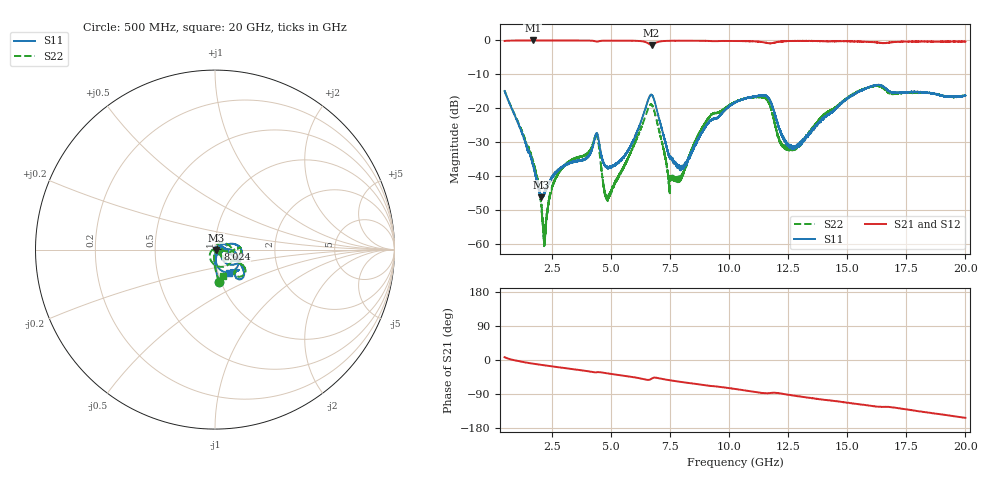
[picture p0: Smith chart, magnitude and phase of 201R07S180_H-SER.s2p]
!{201R07S180}
!Johanson Technology Inc.
!www.johansontechnology.com
!Test Board Conditions:
!Substrate Type  RO4350B
!Substrate Thickness  10 mil
!Substrate Dk  3.66
!TL Type: GCPW
!TL Trace Width  21 mil
!TL Gap  20 mil
!Electrode orientation  Horizontal
!DUT TOPOLOGY	SERIES
!Mounting Pad LxW  16x21 mil
!Agilent Technologies,N5230A,MY45001966,A.07.50.67
!Agilent N5230A: A.07.50.67
! Created Mon Mar  9 16:05:34 2020
# mhz S ma R 50
! 2 Port Network Data from SP1.SP block
! freq  magS11  angS11  magS21  angS21  magS12  angS12  magS22  angS22
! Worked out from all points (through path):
!   19501 points, 500 MHz to 20 GHz, reference 50 ohm
!   highest |S21| = -0.01 dB at 1.692 GHz (marker M1); lowest = -1.3 dB at 6.72 GHz (marker M2)
!   group delay of S21, straight-line fit = 21.4 ps
!   lowest |S11| = -46.4 dB at 2.051 GHz (marker M3), VSWR 1.01, Z = 50.4 - j0.177 ohm
!   |S11| at or under -10 dB: start of sweep to end of sweep
!   |S22| runs from -60.8 to -13.4 dB; largest |S21 - S12| = 0.014
!   S11 on the Smith chart (normalised r, x): 500 MHz: 0.98, -0.36; 8.024 GHz: 1.03, +0.00; 20 GHz: 1.13, -0.30
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500  0.1795 -82.6  0.9821 7.4  0.9833 7.4  0.1808 -82.7
1692  0.01464 -80.8  0.9988 -9.5  0.9968 -9.6  0.01703 -108.4
2051  0.004798 -21.5  0.9979 -12.8  0.9983 -12.9  0.003729 -134.3
2200  0.005939 19.5  0.9975 -14.2  0.9979 -14.1  0.001357 134.3
2693  0.0114 60.4  0.997 -18.4  0.9975 -18.4  0.009735 54.8
3750  0.01705 65.9  0.9961 -27.2  0.9957 -27.2  0.01945 39.7
4390  0.04236 -13.4  0.9597 -32.4  0.9601 -32.4  0.04019 -11.4
4722  0.01464 -71.8  0.9919 -34.1  0.9921 -34.0  0.006006 -118.6
4886  0.01348 -63.5  0.9943 -35.6  0.9937 -35.6  0.005022 -172.5
5724  0.02379 -16.5  0.9914 -43.0  0.992 -43.0  0.01844 91.6
6720  0.1574 -45.3  0.8571 -49.3  0.8584 -49.3  0.1121 -47.0
7000  0.07873 -84.5  0.9538 -47.8  0.9537 -47.8  0.05264 -122.3
7476  0.01949 -41.9  0.9867 -53.5  0.9853 -53.4  0.006145 150.0
8024  0.01361 7.3  0.9897 -58.4  0.9891 -58.4  0.01039 33.7
9081  0.05758 32.4  0.9858 -67.4  0.9822 -67.4  0.06812 -8.9
10250  0.1215 12.8  0.9796 -76.4  0.9799 -76.4  0.1238 2.5
11599  0.1492 -27.6  0.9191 -87.8  0.9189 -87.7  0.1319 -21.8
12468  0.02851 -22.3  0.9776 -91.1  0.9803 -91.4  0.02583 -18.4
13500  0.0457 15.1  0.9831 -100.8  0.9821 -100.7  0.04886 -44.2
15453  0.1729 -31.2  0.9656 -116.2  0.9653 -116.4  0.1765 -29.6
16750  0.1799 -51.9  0.9278 -123.7  0.9213 -123.8  0.1695 -50.9
20000  0.1527 -59.2  0.959 -152.7  0.9594 -152.6  0.1551 -72.4
